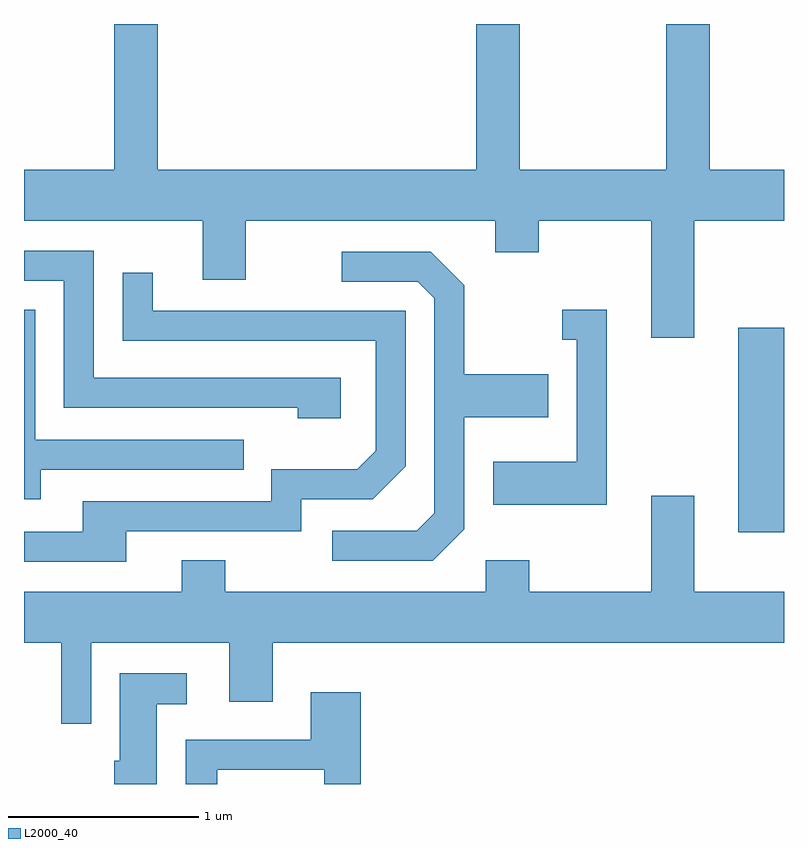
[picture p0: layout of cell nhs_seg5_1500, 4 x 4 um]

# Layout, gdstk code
import gdstk
lib = gdstk.Library(unit=1e-6, precision=1e-09)
def R(c, l, rs):  # rectangles x0, y0, x1, y1
    for r in rs: c.add(gdstk.rectangle(r[:2], r[2:], *l))
def P(c, l, *ps):  # polygons
    for p in ps: c.add(gdstk.Polygon(p, *l))
L2000_40 = (2000, 40)

nhs_seg5_1500 = lib.new_cell('nhs_seg5_1500')
R(nhs_seg5_1500, L2000_40, [(233.371,1437.396,233.611,1438.474)])
P(nhs_seg5_1500, L2000_40, [(233.139,1439.036),(233.611,1439.036),(233.611,1439.304),(233.219,1439.304),(233.219,1440.072),(232.991,1440.072),(232.991,1439.304),(232.219,1439.304),(232.219,1440.072),(231.991,1440.072),(231.991,1439.304),(230.314,1439.304),(230.314,1440.072),(230.086,1440.072),(230.086,1439.304),(229.611,1439.304),(229.611,1439.036),(230.551,1439.036),(230.551,1438.726),(230.779,1438.726),(230.779,1439.036),(232.091,1439.036),(232.091,1438.871),(232.319,1438.871),(232.319,1439.036),(232.911,1439.036),(232.911,1438.421),(233.139,1438.421)],
  [(231.279,1438.209),(229.979,1438.209),(229.979,1438.879),(229.611,1438.879),(229.611,1438.721),(229.821,1438.721),(229.821,1438.051),(231.051,1438.051),(231.051,1437.996),(231.279,1437.996)],
  [(231.929,1437.414),(231.929,1438.001),(232.369,1438.001),(232.369,1438.229),(231.929,1438.229),(231.929,1438.697),(231.752,1438.874),(231.283,1438.874),(231.283,1438.716),(231.684,1438.716),(231.771,1438.629),(231.771,1437.497),(231.679,1437.404),(231.233,1437.404),(231.233,1437.246),(231.762,1437.246)],
  [(230.149,1437.401),(231.069,1437.401),(231.069,1437.571),(231.447,1437.571),(231.619,1437.744),(231.619,1438.564),(230.289,1438.564),(230.289,1438.763),(230.131,1438.763),(230.131,1438.406),(231.461,1438.406),(231.461,1437.827),(231.364,1437.729),(230.911,1437.729),(230.911,1437.559),(229.921,1437.559),(229.921,1437.399),(229.611,1437.399),(229.611,1437.241),(230.149,1437.241)],
  [(232.679,1438.569),(232.443,1438.569),(232.443,1438.411),(232.521,1438.411),(232.521,1437.769),(232.081,1437.769),(232.081,1437.541),(232.679,1437.541)],
  [(229.699,1437.726),(230.768,1437.726),(230.768,1437.884),(229.669,1437.884),(229.669,1438.569),(229.611,1438.569),(229.611,1437.571),(229.699,1437.571)],
  [(229.964,1436.816),(230.691,1436.816),(230.691,1436.506),(230.919,1436.506),(230.919,1436.816),(233.611,1436.816),(233.611,1437.084),(233.139,1437.084),(233.139,1437.589),(232.911,1437.589),(232.911,1437.084),(232.269,1437.084),(232.269,1437.249),(232.041,1437.249),(232.041,1437.084),(230.669,1437.084),(230.669,1437.249),(230.441,1437.249),(230.441,1437.084),(229.611,1437.084),(229.611,1436.816),(229.806,1436.816),(229.806,1436.388),(229.964,1436.388)],
  [(230.309,1436.491),(230.468,1436.491),(230.468,1436.654),(230.116,1436.654),(230.116,1436.194),(230.086,1436.194),(230.086,1436.072),(230.309,1436.072)],
  [(230.629,1436.146),(231.191,1436.146),(231.191,1436.072),(231.384,1436.072),(231.384,1436.554),(231.121,1436.554),(231.121,1436.304),(230.461,1436.304),(230.461,1436.072),(230.629,1436.072)])

lib.write_gds('nhs_seg5_1500.gds')
